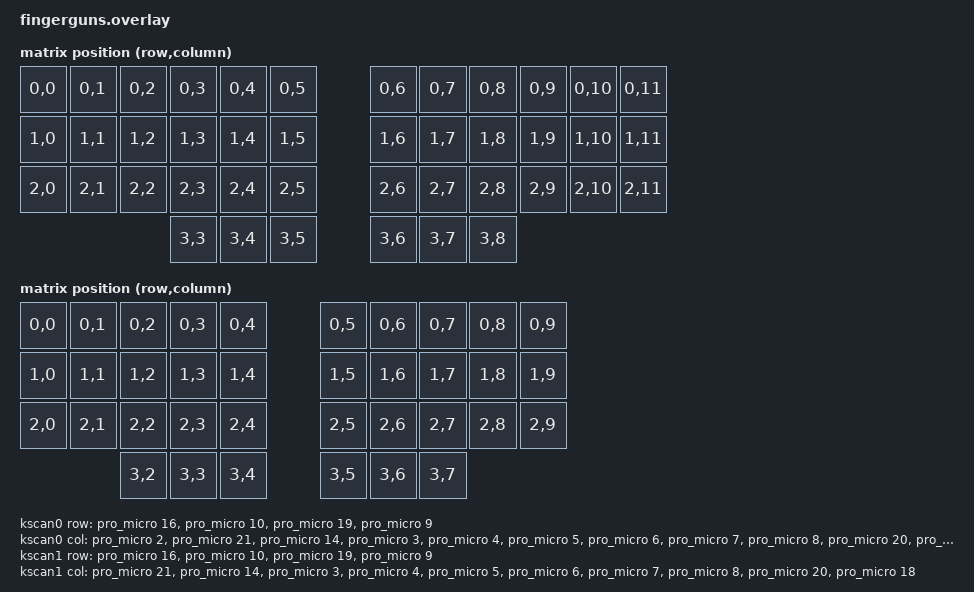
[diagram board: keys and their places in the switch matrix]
#include <dt-bindings/zmk/matrix_transform.h>
#include "fingerguns-layouts.dtsi"

// You must ensure the proper physical layout is indicated for zmk,physical-layout.
// For 12 columns, use &layout_12col.
// For 10 columns, use &layout_10col.
// SEE README.md

/ {
    chosen {
        zmk,kscan = &kscan0;
        zmk,physical-layout = &layout_10col;
    };

    kscan0: kscan0 {
        compatible = "zmk,kscan-gpio-matrix";
        diode-direction = "col2row";
        wakeup-source;

        col-gpios
            = <&pro_micro 2 GPIO_ACTIVE_HIGH>
            , <&pro_micro 21 GPIO_ACTIVE_HIGH>
            , <&pro_micro 14 GPIO_ACTIVE_HIGH>
            , <&pro_micro 3 GPIO_ACTIVE_HIGH>
            , <&pro_micro 4 GPIO_ACTIVE_HIGH>
            , <&pro_micro 5 GPIO_ACTIVE_HIGH>
            , <&pro_micro 6 GPIO_ACTIVE_HIGH>
            , <&pro_micro 7 GPIO_ACTIVE_HIGH>
            , <&pro_micro 8 GPIO_ACTIVE_HIGH>
            , <&pro_micro 20 GPIO_ACTIVE_HIGH>
            , <&pro_micro 18 GPIO_ACTIVE_HIGH>
            , <&pro_micro 15 GPIO_ACTIVE_HIGH>
            ;

        row-gpios
            = <&pro_micro 16 (GPIO_ACTIVE_HIGH | GPIO_PULL_DOWN)>
            , <&pro_micro 10 (GPIO_ACTIVE_HIGH | GPIO_PULL_DOWN)>
            , <&pro_micro 19 (GPIO_ACTIVE_HIGH | GPIO_PULL_DOWN)>
            , <&pro_micro 9 (GPIO_ACTIVE_HIGH | GPIO_PULL_DOWN)>
            ;
    };

    kscan1: kscan1 {
        compatible = "zmk,kscan-gpio-matrix";
        diode-direction = "col2row";
        wakeup-source;

        col-gpios
            = <&pro_micro 21 GPIO_ACTIVE_HIGH>
            , <&pro_micro 14 GPIO_ACTIVE_HIGH>
            , <&pro_micro 3 GPIO_ACTIVE_HIGH>
            , <&pro_micro 4 GPIO_ACTIVE_HIGH>
            , <&pro_micro 5 GPIO_ACTIVE_HIGH>
            , <&pro_micro 6 GPIO_ACTIVE_HIGH>
            , <&pro_micro 7 GPIO_ACTIVE_HIGH>
            , <&pro_micro 8 GPIO_ACTIVE_HIGH>
            , <&pro_micro 20 GPIO_ACTIVE_HIGH>
            , <&pro_micro 18 GPIO_ACTIVE_HIGH>
            ;

        row-gpios
            = <&pro_micro 16 (GPIO_ACTIVE_HIGH | GPIO_PULL_DOWN)>
            , <&pro_micro 10 (GPIO_ACTIVE_HIGH | GPIO_PULL_DOWN)>
            , <&pro_micro 19 (GPIO_ACTIVE_HIGH | GPIO_PULL_DOWN)>
            , <&pro_micro 9 (GPIO_ACTIVE_HIGH | GPIO_PULL_DOWN)>
            ;
    };

    transform_12col: keymap_transform0 {
        compatible = "zmk,matrix-transform";
        columns = <12>;
        rows = <4>;
        map = <
        //   Key 1 | Key 2 | Key 3 | Key 4 | Key 5 | Key 6 | Key 7 | Key 8 | Key 9 | Key 10| Key 11 | Key 12
            RC(0,0) RC(0,1) RC(0,2) RC(0,3) RC(0,4) RC(0,5) RC(0,6) RC(0,7) RC(0,8) RC(0,9) RC(0,10) RC(0,11)

        //   Key 13| Key 14| Key 15| Key 16| Key 17| Key 18| Key 19| Key 20| Key 21| Key 22| Key 23| Key 24|
            RC(1,0) RC(1,1) RC(1,2) RC(1,3) RC(1,4) RC(1,5) RC(1,6) RC(1,7) RC(1,8) RC(1,9) RC(1,10) RC(1,11)

        //   Key 25| Key 26| Key 27| Key 28| Key 29| Key 30| Key 31| Key 32| Key 33| Key 34| Key 35| Key 36|
            RC(2,0) RC(2,1) RC(2,2) RC(2,3) RC(2,4) RC(2,5) RC(2,6) RC(2,7) RC(2,8) RC(2,9) RC(2,10) RC(2,11)

        //                           Key 37| Key 38| Key 39| Key 40| Key 41| Key 42|
                                    RC(3,3) RC(3,4) RC(3,5) RC(3,6) RC(3,7) RC(3,8)
        >;
    };

    transform_10col: keymap_transform1 {
        compatible = "zmk,matrix-transform";
        columns = <10>;
        rows = <4>;
        map = <
        //   Key 1 | Key 2 | Key 3 | Key 4 | Key 5 | Key 6 | Key 7 | Key 8 | Key 9 | Key 10
            RC(0,0) RC(0,1) RC(0,2) RC(0,3) RC(0,4) RC(0,5) RC(0,6) RC(0,7) RC(0,8) RC(0,9)

        //   Key 11| Key 12| Key 13| Key 14| Key 15| Key 16| Key 17| Key 18| Key 19| Key 20
            RC(1,0) RC(1,1) RC(1,2) RC(1,3) RC(1,4) RC(1,5) RC(1,6) RC(1,7) RC(1,8) RC(1,9)

        //   Key 21| Key 22| Key 23| Key 24| Key 25| Key 26| Key 27| Key 28| Key 29| Key 30
            RC(2,0) RC(2,1) RC(2,2) RC(2,3) RC(2,4) RC(2,5) RC(2,6) RC(2,7) RC(2,8) RC(2,9)

        //                   Key 31| Key 32| Key 33| Key 34| Key 35| Key 36
                            RC(3,2) RC(3,3) RC(3,4) RC(3,5) RC(3,6) RC(3,7)
        >;
    };
};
